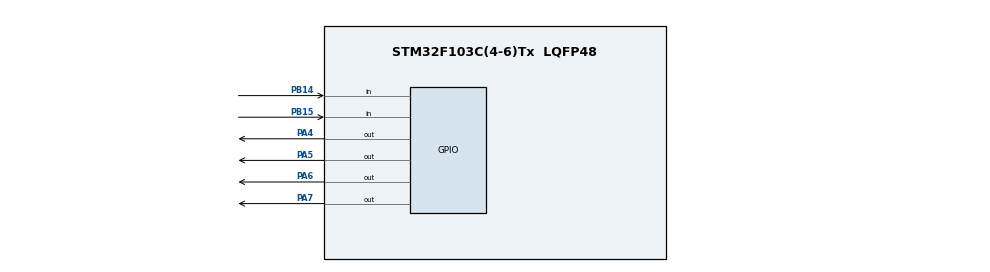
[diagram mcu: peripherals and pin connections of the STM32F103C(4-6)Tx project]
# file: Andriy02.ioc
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Mcu.Family=STM32F1
Mcu.Name=STM32F103C(4-6)Tx
Mcu.Package=LQFP48
NVIC.PriorityGroup=NVIC_PRIORITYGROUP_4
PA4.Signal=GPIO_Output
PA5.Signal=GPIO_Output
PA6.Signal=GPIO_Output
PA7.Signal=GPIO_Output
PB14.Signal=GPIO_Input
PB15.Signal=GPIO_Input
ProjectManager.HeapSize=0x200
ProjectManager.StackSize=0x400
ProjectManager.TargetToolchain=STM32CubeIDE
RCC.APB1Freq_Value=8000000
RCC.APB2Freq_Value=8000000
VP_SYS_VS_ND.Mode=No_Debug
board=custom

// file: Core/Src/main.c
/* USER CODE BEGIN Header */
/**
  ******************************************************************************
  * @file           : main.c
  * @brief          : Main program body
  ******************************************************************************
  * @attention
  *
  * Copyright (c) 2022 STMicroelectronics.
  * All rights reserved.
  *
  * This software is licensed under terms that can be found in the LICENSE file
  * in the root directory of this software component.
  * If no LICENSE file comes with this software, it is provided AS-IS.
  *
  ******************************************************************************
  */
/* USER CODE END Header */
#include "main.h"
#include "gpio.h"

void SystemClock_Config(void);

int main(void)
{
	int count=0;
	int b=0;

  /* MCU Configuration--------------------------------------------------------*/

  /* Reset of all peripherals, Initializes the Flash interface and the Systick. */
  HAL_Init();

  /* Configure the system clock */
  SystemClock_Config();

  /* Initialize all configured peripherals */
  MX_GPIO_Init();

  /* Infinite loop */
  /* USER CODE BEGIN WHILE */
  while (1)
  {
	  if(HAL_GPIO_ReadPin(GPIOB, GPIO_PIN_15) != GPIO_PIN_SET)
	     {
	         HAL_Delay(500);
	         count++;
	         if(count == 1){
	             HAL_GPIO_WritePin(GPIOA, GPIO_PIN_4, GPIO_PIN_RESET);

	         }

	         if(count == 2){
	             HAL_GPIO_WritePin(GPIOA, GPIO_PIN_4, GPIO_PIN_SET);
	             HAL_GPIO_WritePin(GPIOA, GPIO_PIN_5, GPIO_PIN_RESET);

	         }
	         if(count == 3){
	             HAL_GPIO_WritePin(GPIOA, GPIO_PIN_5, GPIO_PIN_SET);
	             HAL_GPIO_WritePin(GPIOA, GPIO_PIN_6, GPIO_PIN_RESET);

	         }
	         if(count == 4){
	             HAL_GPIO_WritePin(GPIOA, GPIO_PIN_6, GPIO_PIN_SET);
	             HAL_GPIO_WritePin(GPIOA, GPIO_PIN_7, GPIO_PIN_RESET);

	         }
	         if(count == 5){

	             HAL_GPIO_WritePin(GPIOA, GPIO_PIN_7, GPIO_PIN_SET);
	             count = 0;
	         }

	     }
	     if(HAL_GPIO_ReadPin(GPIOB, GPIO_PIN_14) != GPIO_PIN_SET)
	                {
	                HAL_Delay(500);
	                b++;
	                if(b == 1)
	                {
	                 HAL_GPIO_WritePin(GPIOA, GPIO_PIN_4, GPIO_PIN_RESET);
	                }
	                if(b == 2)
	                {
	                    HAL_GPIO_WritePin(GPIOA, GPIO_PIN_4, GPIO_PIN_RESET);
	                    HAL_GPIO_WritePin(GPIOA, GPIO_PIN_5, GPIO_PIN_RESET);
	                }
	                if(b == 3)
	                {
	                    HAL_GPIO_WritePin(GPIOA, GPIO_PIN_4, GPIO_PIN_RESET);
	                    HAL_GPIO_WritePin(GPIOA, GPIO_PIN_5, GPIO_PIN_RESET);
	                    HAL_GPIO_WritePin(GPIOA, GPIO_PIN_6, GPIO_PIN_RESET);
	                }
	                if(b == 4)
	                {
	                    HAL_GPIO_WritePin(GPIOA, GPIO_PIN_4, GPIO_PIN_RESET);
	                    HAL_GPIO_WritePin(GPIOA, GPIO_PIN_5, GPIO_PIN_RESET);
	                    HAL_GPIO_WritePin(GPIOA, GPIO_PIN_6, GPIO_PIN_RESET);
	                    HAL_GPIO_WritePin(GPIOA, GPIO_PIN_7, GPIO_PIN_RESET);
	                }
	                if(b == 5)
	                {
	                   HAL_GPIO_WritePin(GPIOA, GPIO_PIN_4, GPIO_PIN_SET);
	                   HAL_GPIO_WritePin(GPIOA, GPIO_PIN_5, GPIO_PIN_SET);
	                   HAL_GPIO_WritePin(GPIOA, GPIO_PIN_6, GPIO_PIN_SET);
	                   HAL_GPIO_WritePin(GPIOA, GPIO_PIN_7, GPIO_PIN_SET);
	                   b=0;
	                }

	          }
	          else if(count == 0 && b == 0)
	       {
	                   HAL_GPIO_WritePin(GPIOA, GPIO_PIN_4, GPIO_PIN_SET);
	                      HAL_GPIO_WritePin(GPIOA, GPIO_PIN_5, GPIO_PIN_SET);
	                      HAL_GPIO_WritePin(GPIOA, GPIO_PIN_6, GPIO_PIN_SET);
	                      HAL_GPIO_WritePin(GPIOA, GPIO_PIN_7, GPIO_PIN_SET);

	       }
    /* USER CODE END WHILE */

  }
}

void SystemClock_Config(void)
{
  RCC_OscInitTypeDef RCC_OscInitStruct = {0};
  RCC_ClkInitTypeDef RCC_ClkInitStruct = {0};

  /** Initializes the RCC Oscillators according to the specified parameters
  * in the RCC_OscInitTypeDef structure.
  */
  RCC_OscInitStruct.OscillatorType = RCC_OSCILLATORTYPE_HSI;
  RCC_OscInitStruct.HSIState = RCC_HSI_ON;
  RCC_OscInitStruct.HSICalibrationValue = RCC_HSICALIBRATION_DEFAULT;
  RCC_OscInitStruct.PLL.PLLState = RCC_PLL_NONE;
  if (HAL_RCC_OscConfig(&RCC_OscInitStruct) != HAL_OK)
  {
    Error_Handler();
  }
  /** Initializes the CPU, AHB and APB buses clocks
  */
  RCC_ClkInitStruct.ClockType = RCC_CLOCKTYPE_HCLK|RCC_CLOCKTYPE_SYSCLK
                              |RCC_CLOCKTYPE_PCLK1|RCC_CLOCKTYPE_PCLK2;
  RCC_ClkInitStruct.SYSCLKSource = RCC_SYSCLKSOURCE_HSI;
  RCC_ClkInitStruct.AHBCLKDivider = RCC_SYSCLK_DIV1;
  RCC_ClkInitStruct.APB1CLKDivider = RCC_HCLK_DIV1;
  RCC_ClkInitStruct.APB2CLKDivider = RCC_HCLK_DIV1;

  if (HAL_RCC_ClockConfig(&RCC_ClkInitStruct, FLASH_LATENCY_0) != HAL_OK)
  {
    Error_Handler();
  }
}

void Error_Handler(void)
{
  __disable_irq();
  while (1)
  {
  }
}
